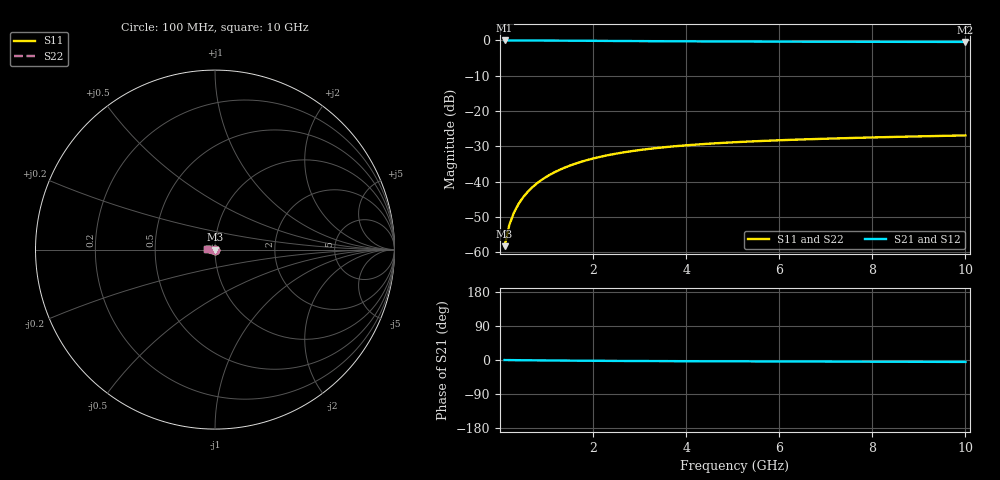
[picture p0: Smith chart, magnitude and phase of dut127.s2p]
! Touchstone file exported from HFSS 2024.1.0
!  File:  C:/UserFiles/LocalFiles/RDL_TSV_Batchsim/temp_TSV1_127_1779379314.aedt
!  Generated:  12:06:53 AM May 22, 2026
!  Design:  TSV1
!  Project:  temp_TSV1_127_1779379314
!  Setup:  Setup1
!  Solution:  Sweep
! Variables:
!  dtsv = 10.32um
!  hbump = 3um
!  htsv = 78.77um
!  lrdl = 252.1521522um
!  p = 40
!  p1 = 53.13um
!  t = 500um
!  trdl = 3um
!  wrdl = 24.89489489um
# GHz S MA R 50.000000
! Terminal data exported
! Port[1] = TSV22_T1
! Port[2] = TSV22_T2
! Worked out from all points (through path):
!   100 points, 100 MHz to 10 GHz, reference 50 ohm
!   highest |S21| = 0.00 dB at 100 MHz (marker M1); lowest = -0.4 dB at 10 GHz (marker M2)
!   lowest |S11| = -58.3 dB at 100 MHz (marker M3), VSWR 1.00, Z = 50 - j0.121 ohm
!   |S11| at or under -10 dB: start of sweep to end of sweep
!   |S22| runs from -58.3 to -26.9 dB; largest |S21 - S12| = 4.6e-15
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0.1  0.001213 -85.5  0.9998 -0.1  0.9998 -0.1  0.001213 -85.5
! Gamma 0 0 0 0
! Port Impedance 50 0 50 0
0.2  0.002415 -90.5  0.9997 -0.3  0.9997 -0.3  0.002415 -90.5
0.3  0.003617 -93.3  0.9995 -0.4  0.9995 -0.4  0.003617 -93.3
0.4  0.004816 -95.7  0.9992 -0.5  0.9992 -0.5  0.004816 -95.7
0.5  0.006005 -97.9  0.9988 -0.6  0.9988 -0.6  0.006005 -97.9
0.6  0.007181 -100.0  0.9984 -0.7  0.9984 -0.7  0.007181 -100.0
0.7  0.008341 -102.0  0.9979 -0.9  0.9979 -0.9  0.008341 -102.0
0.8  0.009482 -104.0  0.9973 -1.0  0.9973 -1.0  0.009482 -104.0
0.9  0.0106 -105.9  0.9967 -1.1  0.9967 -1.1  0.0106 -105.9
1.1  0.01277 -109.7  0.9953 -1.3  0.9953 -1.3  0.01277 -109.7
1.4  0.01583 -115.0  0.9929 -1.6  0.9929 -1.6  0.01583 -115.0
1.6  0.01773 -118.3  0.9912 -1.8  0.9912 -1.8  0.01773 -118.3
1.8  0.01952 -121.6  0.9894 -1.9  0.9894 -1.9  0.01952 -121.6
2.1  0.02198 -126.1  0.9867 -2.2  0.9867 -2.2  0.02198 -126.1
2.5  0.02487 -131.8  0.9831 -2.4  0.9831 -2.4  0.02487 -131.8
2.9  0.02737 -136.9  0.9797 -2.7  0.9797 -2.7  0.02737 -136.9
3.4  0.03001 -142.8  0.9758 -2.9  0.9758 -2.9  0.03001 -142.8
4.2  0.03336 -150.8  0.9705 -3.2  0.9705 -3.2  0.03336 -150.8
5.1  0.03622 -158.5  0.9657 -3.5  0.9657 -3.5  0.03622 -158.5
6.7  0.0399 -169.6  0.9598 -4.1  0.9598 -4.1  0.0399 -169.6
8.4  0.04278 -179.0  0.9557 -4.6  0.9557 -4.6  0.04278 -179.0
10  0.04505 173.6  0.953 -5.1  0.953 -5.1  0.04505 173.6
